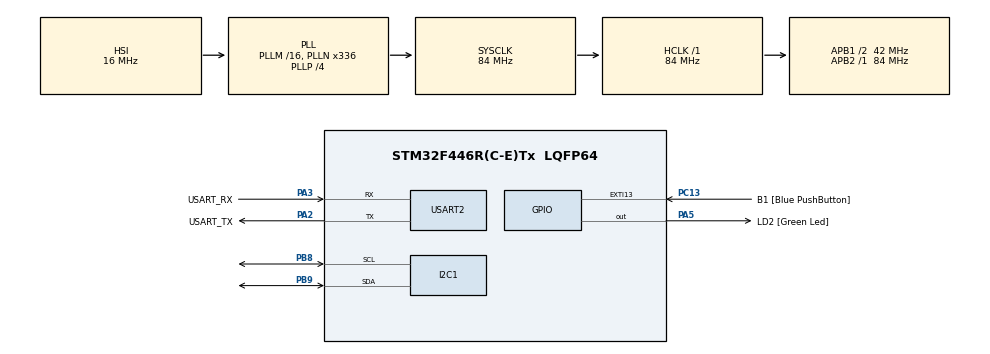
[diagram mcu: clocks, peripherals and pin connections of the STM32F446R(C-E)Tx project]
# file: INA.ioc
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Mcu.Family=STM32F4
Mcu.Name=STM32F446R(C-E)Tx
Mcu.Package=LQFP64
NVIC.PriorityGroup=NVIC_PRIORITYGROUP_0
PA13.GPIO_Label=TMS
PA13.Mode=Serial_Wire
PA13.Signal=SYS_JTMS-SWDIO
PA14.GPIO_Label=TCK
PA14.Mode=Serial_Wire
PA14.Signal=SYS_JTCK-SWCLK
PA2.GPIO_Label=USART_TX
PA2.Mode=Asynchronous
PA2.Signal=USART2_TX
PA3.GPIO_Label=USART_RX
PA3.Mode=Asynchronous
PA3.Signal=USART2_RX
PA5.GPIO_Label=LD2 [Green Led]
PA5.Signal=GPIO_Output
PB3.GPIO_Label=SWO
PB3.Signal=SYS_JTDO-SWO
PB8.Mode=I2C
PB8.Signal=I2C1_SCL
PB9.Mode=I2C
PB9.Signal=I2C1_SDA
PC13.GPIO_Label=B1 [Blue PushButton]
PC13.GPIO_ModeDefaultEXTI=GPIO_MODE_IT_FALLING
PC13.Signal=GPXTI13
PC14-OSC32_IN.Mode=LSE-External-Oscillator
PC14-OSC32_IN.Signal=RCC_OSC32_IN
PC15-OSC32_OUT.Mode=LSE-External-Oscillator
PC15-OSC32_OUT.Signal=RCC_OSC32_OUT
PH0-OSC_IN.Mode=HSE-External-Oscillator
PH0-OSC_IN.Signal=RCC_OSC_IN
PH1-OSC_OUT.Mode=HSE-External-Oscillator
PH1-OSC_OUT.Signal=RCC_OSC_OUT
ProjectManager.HeapSize=0x200
ProjectManager.StackSize=0x400
ProjectManager.TargetToolchain=STM32CubeIDE
RCC.48MHZClocksFreq_Value=84000000
RCC.AHBFreq_Value=84000000
RCC.APB1CLKDivider=RCC_HCLK_DIV2
RCC.APB1Freq_Value=42000000
RCC.APB1TimFreq_Value=84000000
RCC.APB2Freq_Value=84000000
RCC.APB2TimFreq_Value=84000000
RCC.CortexFreq_Value=84000000
RCC.FLatency-AdvancedSettings=FLASH_LATENCY_2
RCC.HCLKFreq_Value=84000000
RCC.HSE_VALUE=8000000
RCC.HSI_VALUE=16000000
RCC.PLLN=336
RCC.PLLP=RCC_PLLP_DIV4
RCC.SYSCLKFreq_VALUE=84000000
RCC.SYSCLKSource=RCC_SYSCLKSOURCE_PLLCLK
RCC.USBFreq_Value=168000000
RCC.VCOOutputFreq_Value=336000000
USART2.VirtualMode=VM_ASYNC
board=NUCLEO-F446RE

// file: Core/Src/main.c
/* USER CODE BEGIN Header */
/**
  ******************************************************************************
  * @file           : main.c
  * @brief          : Main program body
  ******************************************************************************
  * @attention
  *
  * Copyright (c) 2025 STMicroelectronics.
  * All rights reserved.
  *
  * This software is licensed under terms that can be found in the LICENSE file
  * in the root directory of this software component.
  * If no LICENSE file comes with this software, it is provided AS-IS.
  *
  ******************************************************************************
  */
/* USER CODE END Header */
#include "main.h"

/* USER CODE BEGIN Includes */
#include <stdio.h>
#include <string.h>
#include "INA219.h"
/* USER CODE END Includes */

I2C_HandleTypeDef hi2c1;

UART_HandleTypeDef huart2;

/* USER CODE BEGIN PV */
bool isFirst = true;
uint16_t ina219_calibrationValue = 0;
int16_t ina219_currentDivider_mA = 0;
int16_t ina219_powerMultiplier_mW = 0;

/* USER CODE END PV */

void SystemClock_Config(void);
static void MX_GPIO_Init(void);
static void MX_USART2_UART_Init(void);
static void MX_I2C1_Init(void);

/* USER CODE BEGIN 0 */
INA219_t ina219;

uint16_t vbus, vshunt, current, config, power;
float batteryLife , miliwattAVG,miliWattTime,totalPowerUsed;
enum BatteryState state;

int _write(int file, char *ptr, int len){
	for (int idx = 0; idx < len; idx++) {
		while(!(USART2 -> SR & USART_SR_TXE));
		USART2->DR = (uint8_t)ptr[idx];
	}
	return len;
}

/* USER CODE END 0 */

int main(void)
{

  /* MCU Configuration--------------------------------------------------------*/

  /* Reset of all peripherals, Initializes the Flash interface and the Systick. */
  HAL_Init();

  /* USER CODE BEGIN Init */
  unsigned char uart_tx_buff[100];

  /* USER CODE END Init */

  /* Configure the system clock */
  SystemClock_Config();

  /* Initialize all configured peripherals */
  MX_GPIO_Init();
  MX_USART2_UART_Init();
  MX_I2C1_Init();
  /* USER CODE BEGIN 2 */
  while(!INA219_Init(&ina219, &hi2c1, INA219_ADDRESS))
   {

   }

  config = Read16(&ina219, INA219_REG_CONFIG);
  setbuf(stdout, NULL);

  /* USER CODE END 2 */

  /* Infinite loop */
  while (1)
  {

    /* USER CODE BEGIN 3 */
	  vbus = INA219_ReadBusVoltage(&ina219);
	  vshunt = INA219_ReadShuntVolage(&ina219);
	  current = INA219_ReadCurrent(&ina219);
	  power = INA219_ReadPower(&ina219);
	  batteryLife = INA219_GetBatteryLife(&ina219, 6000,4000);
	  miliwattAVG = INA219_GetAVGMiliWatt(&ina219);
	  miliWattTime = INA219_GetMiliWattsDeltaTime(&ina219);
	  totalPowerUsed = INA219_GetTotalPowerUsed(&ina219);
	  state= INA219_HealthCheck(&ina219,10.00,batteryLife);

	  printf("\n\r---------------\n\r");
	  printf("Voltage : %.3f\n\r",vbus);
	  printf("Current : %.3f\n\r",current);
	  printf("---------------\n\r");
	  HAL_Delay(500);

  }
  /* USER CODE END 3 */
}

void SystemClock_Config(void)
{
  RCC_OscInitTypeDef RCC_OscInitStruct = {0};
  RCC_ClkInitTypeDef RCC_ClkInitStruct = {0};

  /** Configure the main internal regulator output voltage
  */
  __HAL_RCC_PWR_CLK_ENABLE();
  __HAL_PWR_VOLTAGESCALING_CONFIG(PWR_REGULATOR_VOLTAGE_SCALE3);

  /** Initializes the RCC Oscillators according to the specified parameters
  * in the RCC_OscInitTypeDef structure.
  */
  RCC_OscInitStruct.OscillatorType = RCC_OSCILLATORTYPE_HSI;
  RCC_OscInitStruct.HSIState = RCC_HSI_ON;
  RCC_OscInitStruct.HSICalibrationValue = RCC_HSICALIBRATION_DEFAULT;
  RCC_OscInitStruct.PLL.PLLState = RCC_PLL_ON;
  RCC_OscInitStruct.PLL.PLLSource = RCC_PLLSOURCE_HSI;
  RCC_OscInitStruct.PLL.PLLM = 16;
  RCC_OscInitStruct.PLL.PLLN = 336;
  RCC_OscInitStruct.PLL.PLLP = RCC_PLLP_DIV4;
  RCC_OscInitStruct.PLL.PLLQ = 2;
  RCC_OscInitStruct.PLL.PLLR = 2;
  if (HAL_RCC_OscConfig(&RCC_OscInitStruct) != HAL_OK)
  {
    Error_Handler();
  }

  /** Initializes the CPU, AHB and APB buses clocks
  */
  RCC_ClkInitStruct.ClockType = RCC_CLOCKTYPE_HCLK|RCC_CLOCKTYPE_SYSCLK
                              |RCC_CLOCKTYPE_PCLK1|RCC_CLOCKTYPE_PCLK2;
  RCC_ClkInitStruct.SYSCLKSource = RCC_SYSCLKSOURCE_PLLCLK;
  RCC_ClkInitStruct.AHBCLKDivider = RCC_SYSCLK_DIV1;
  RCC_ClkInitStruct.APB1CLKDivider = RCC_HCLK_DIV2;
  RCC_ClkInitStruct.APB2CLKDivider = RCC_HCLK_DIV1;

  if (HAL_RCC_ClockConfig(&RCC_ClkInitStruct, FLASH_LATENCY_2) != HAL_OK)
  {
    Error_Handler();
  }
}

static void MX_I2C1_Init(void)
{

  hi2c1.Instance = I2C1;
  hi2c1.Init.ClockSpeed = 100000;
  hi2c1.Init.DutyCycle = I2C_DUTYCYCLE_2;
  hi2c1.Init.OwnAddress1 = 0;
  hi2c1.Init.AddressingMode = I2C_ADDRESSINGMODE_7BIT;
  hi2c1.Init.DualAddressMode = I2C_DUALADDRESS_DISABLE;
  hi2c1.Init.OwnAddress2 = 0;
  hi2c1.Init.GeneralCallMode = I2C_GENERALCALL_DISABLE;
  hi2c1.Init.NoStretchMode = I2C_NOSTRETCH_DISABLE;
  if (HAL_I2C_Init(&hi2c1) != HAL_OK)
  {
    Error_Handler();
  }

}

static void MX_USART2_UART_Init(void)
{

  huart2.Instance = USART2;
  huart2.Init.BaudRate = 115200;
  huart2.Init.WordLength = UART_WORDLENGTH_8B;
  huart2.Init.StopBits = UART_STOPBITS_1;
  huart2.Init.Parity = UART_PARITY_NONE;
  huart2.Init.Mode = UART_MODE_TX_RX;
  huart2.Init.HwFlowCtl = UART_HWCONTROL_NONE;
  huart2.Init.OverSampling = UART_OVERSAMPLING_16;
  if (HAL_UART_Init(&huart2) != HAL_OK)
  {
    Error_Handler();
  }

}

static void MX_GPIO_Init(void)
{
  GPIO_InitTypeDef GPIO_InitStruct = {0};

  /* GPIO Ports Clock Enable */
  __HAL_RCC_GPIOC_CLK_ENABLE();
  __HAL_RCC_GPIOH_CLK_ENABLE();
  __HAL_RCC_GPIOA_CLK_ENABLE();
  __HAL_RCC_GPIOB_CLK_ENABLE();

  /*Configure GPIO pin Output Level */
  HAL_GPIO_WritePin(LD2_GPIO_Port, LD2_Pin, GPIO_PIN_RESET);

  /*Configure GPIO pin : B1_Pin */
  GPIO_InitStruct.Pin = B1_Pin;
  GPIO_InitStruct.Mode = GPIO_MODE_IT_FALLING;
  GPIO_InitStruct.Pull = GPIO_NOPULL;
  HAL_GPIO_Init(B1_GPIO_Port, &GPIO_InitStruct);

  /*Configure GPIO pin : LD2_Pin */
  GPIO_InitStruct.Pin = LD2_Pin;
  GPIO_InitStruct.Mode = GPIO_MODE_OUTPUT_PP;
  GPIO_InitStruct.Pull = GPIO_NOPULL;
  GPIO_InitStruct.Speed = GPIO_SPEED_FREQ_LOW;
  HAL_GPIO_Init(LD2_GPIO_Port, &GPIO_InitStruct);

}

void Error_Handler(void)
{
  __disable_irq();
  while (1)
  {
  }
}
